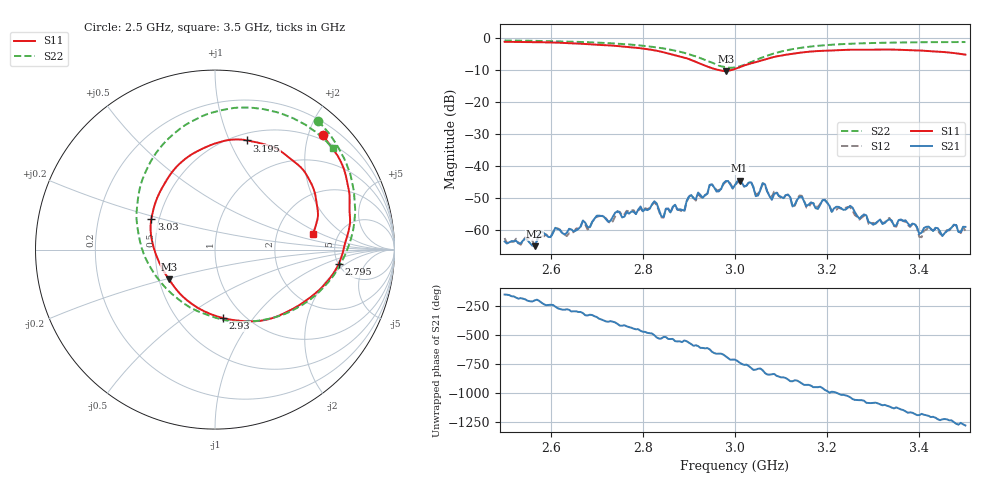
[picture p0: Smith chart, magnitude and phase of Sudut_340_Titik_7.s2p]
# Hz S RI R 50
! CMT, C1220, 16058040, 17.2.0/1
! Date: 15/08/2018 10:11:55
! Data: Format (Calibration Info)
! Freq  S11: Re/Im (F2)  S21: Re/Im (F2)  S12: Re/Im (F2)  S22: Re/Im (F2)
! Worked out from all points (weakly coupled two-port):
!   201 points, 2.5 GHz to 3.5 GHz, reference 50 ohm
!   highest |S21| = -44.50 dB at 3.01 GHz (marker M1); lowest = -65.0 dB at 2.565 GHz (marker M2)
!   lowest |S11| = -10.3 dB at 2.98 GHz (marker M3), VSWR 1.88, Z = 28.2 - j10.3 ohm
!   |S11| at or under -10 dB: 2.965 GHz to 2.992 GHz (26.62 MHz wide, 0.894 % of centre)
!   |S22| runs from -9.3 to -0.7 dB; largest |S21 - S12| = 0.00044
!   S11 on the Smith chart (normalised r, x): 2.5 GHz: 0.41, +2.25; 2.795 GHz: 5.02, -1.56; 2.93 GHz: 0.80, -0.72; 3.03 GHz: 0.45, +0.18; 3.195 GHz: 0.57, +1.16; 3.5 GHz: 3.24, +0.80
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2.5e9  0.5999 0.6367  -0.000555 -0.000367  -0.000641 -0.000398  0.5728 0.7167
2.565e9  0.6695 0.5429  -0.000537 0.000171  -0.000522 0.000265  0.6457 0.6335
2.58e9  0.6867 0.5167  -0.000779 0.000587  -0.000621 0.000584  0.6615 0.6104
2.635e9  0.7316 0.4005  5.95e-05 0.000909  0.000119 0.000803  0.7151 0.5164
2.67e9  0.7481 0.3162  0.000872 0.00112  0.000911 0.00106  0.7454 0.4433
2.795e9  0.6888 -0.0807  -0.000447 -0.00231  -0.000485 -0.00217  0.7621 0.0774
2.835e9  0.5824 -0.2236  -0.00205 -0.000418  -0.00193 -0.000469  0.7022 -0.0758
2.93e9  0.0434 -0.3812  -0.00112 0.00302  -0.00128 0.00291  0.2584 -0.3936
2.98e9  -0.257 -0.1653  0.00467 0.00352  0.00442 0.00359  -0.1384 -0.3229
3e9  -0.3281 -0.0297  0.00504 0.000774  0.00497 0.000514  -0.2749 -0.2132
3.01e9  -0.3485 0.0373  0.00568 -0.00177  0.00543 -0.00162  -0.3313 -0.1447
3.03e9  -0.3554 0.1685  0.00377 -0.0041  0.00378 -0.0041  -0.4086 0.00948
3.045e9  -0.3333 0.258  0.000701 -0.00333  0.00085 -0.00352  -0.4329 0.1301
3.06e9  -0.2946 0.3441  0.000714 -0.0054  0.000474 -0.00526  -0.4332 0.2487
3.08e9  -0.2336 0.4391  -0.00139 -0.00264  -0.0015 -0.00297  -0.4044 0.3902
3.17e9  0.0975 0.6127  -0.00168 0.002  -0.00183 0.00193  -0.076 0.7413
3.195e9  0.1775 0.6084  -0.0008 0.00283  -0.000659 0.00292  0.017 0.7719
3.29e9  0.4143 0.5111  0.00133 -0.000172  0.00125 -0.00014  0.3068 0.775
3.335e9  0.4924 0.4425  0.00118 -0.0009  0.00118 -0.00102  0.4082 0.7431
3.39e9  0.5491 0.3385  -0.000272 -0.00121  -0.000298 -0.00125  0.5097 0.6919
3.4e9  0.5555 0.3184  -0.00033 -0.000808  -0.000365 -0.000697  0.5257 0.6801
3.5e9  0.5444 0.0864  -0.00105 0.000425  -0.000862 0.000472  0.6574 0.5642
